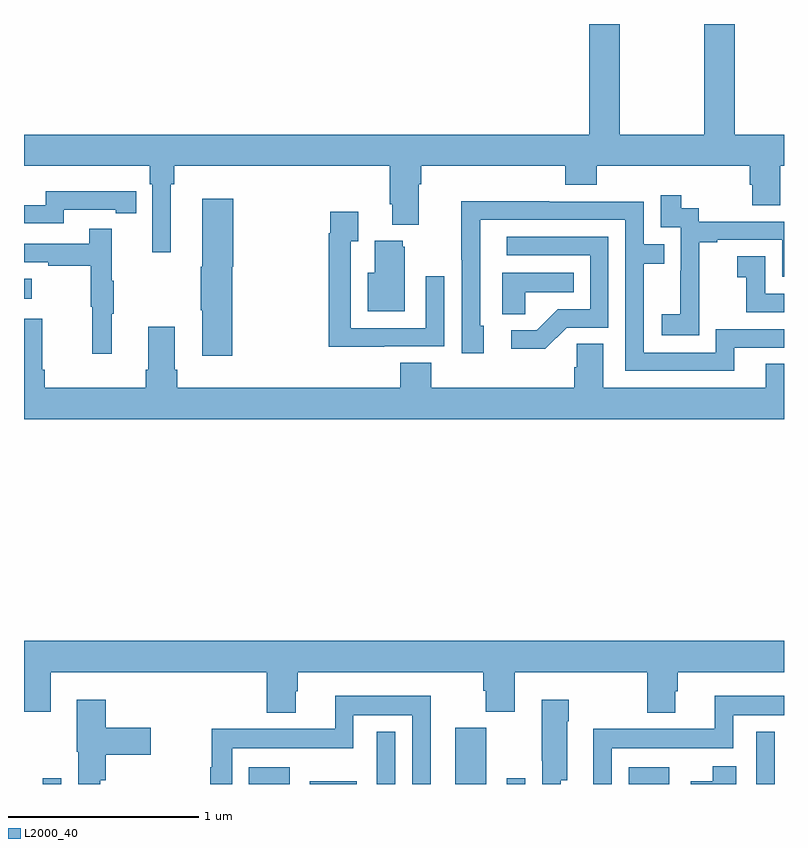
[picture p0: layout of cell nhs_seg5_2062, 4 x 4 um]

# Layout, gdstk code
import gdstk
lib = gdstk.Library(unit=1e-6, precision=1e-09)
def R(c, l, rs):  # rectangles x0, y0, x1, y1
    for r in rs: c.add(gdstk.rectangle(r[:2], r[2:], *l))
def P(c, l, *ps):  # polygons
    for p in ps: c.add(gdstk.Polygon(p, *l))
L2000_40 = (2000, 40)

nhs_seg5_2062 = lib.new_cell('nhs_seg5_2062')
R(nhs_seg5_2062, L2000_40, [(231.099,894.799,231.195,894.829), (232.184,894.799,232.399,894.886), (232.503,894.799,232.75,894.814), (232.857,894.799,232.953,895.075), (233.27,894.799,233.434,895.095), (233.541,894.799,233.637,894.829), (234.182,894.799,234.397,894.886), (234.855,894.799,234.951,895.075), (231,897.353,231.04,897.457)])
P(nhs_seg5_2062, L2000_40, [(234.821,897.954),(234.833,897.954),(234.833,897.844),(234.981,897.844),(234.981,898.052),(235,898.052),(235,898.216),(234.74,898.216),(234.74,898.799),(234.58,898.799),(234.58,898.216),(234.135,898.216),(234.135,898.799),(233.975,898.799),(233.975,898.216),(231,898.216),(231,898.052),(231.662,898.052),(231.662,897.956),(231.675,897.956),(231.675,897.597),(231.772,897.597),(231.772,897.956),(231.791,897.956),(231.791,898.052),(232.925,898.052),(232.925,897.85),(232.937,897.85),(232.937,897.743),(233.077,897.743),(233.077,897.956),(233.09,897.956),(233.09,898.052),(233.849,898.052),(233.849,897.953),(234.014,897.953),(234.014,898.052),(234.821,898.052)],
  [(231.21,897.822),(231.482,897.822),(231.482,897.802),(231.59,897.802),(231.59,897.918),(231.482,897.918),(231.482,897.919),(231.114,897.919),(231.114,897.846),(231,897.846),(231,897.75),(231.21,897.75)],
  [(234.555,897.367),(234.554,897.367),(234.554,897.651),(234.649,897.651),(234.649,897.663),(234.99,897.663),(234.99,897.468),(235,897.468),(235,897.759),(234.552,897.759),(234.552,897.828),(234.46,897.828),(234.46,897.898),(234.351,897.898),(234.351,897.729),(234.456,897.729),(234.456,897.5),(234.455,897.5),(234.455,897.271),(234.357,897.271),(234.357,897.161),(234.555,897.161)],
  [(232.097,897.522),(232.102,897.522),(232.102,897.88),(231.938,897.88),(231.938,897.522),(231.931,897.522),(231.931,897.292),(231.938,897.292),(231.938,897.054),(232.097,897.054)],
  [(234.739,897.096),(235,897.096),(235,897.192),(234.642,897.192),(234.642,897.069),(234.261,897.069),(234.261,897.538),(234.371,897.538),(234.371,897.639),(234.261,897.639),(234.261,897.864),(233.765,897.864),(233.765,897.866),(233.302,897.866),(233.302,897.559),(233.304,897.559),(233.304,897.066),(233.419,897.066),(233.419,897.21),(233.4,897.21),(233.4,897.768),(234.165,897.768),(234.165,896.973),(234.739,896.973)],
  [(232.895,897.102),(233.211,897.102),(233.211,897.472),(233.115,897.472),(233.115,897.198),(232.719,897.198),(232.719,897.655),(232.759,897.655),(232.759,897.811),(232.611,897.811),(232.611,897.698),(232.603,897.698),(232.603,897.101),(232.895,897.101)],
  [(231.461,897.275),(231.472,897.275),(231.472,897.449),(231.461,897.449),(231.461,897.721),(231.343,897.721),(231.343,897.642),(231,897.642),(231,897.546),(231.127,897.546),(231.127,897.526),(231.351,897.526),(231.351,897.312),(231.358,897.312),(231.358,897.063),(231.461,897.063)],
  [(233.856,897.201),(234.075,897.201),(234.075,897.678),(233.541,897.678),(233.541,897.582),(233.979,897.582),(233.979,897.297),(233.81,897.297),(233.699,897.186),(233.565,897.186),(233.565,897.089),(233.743,897.089)],
  [(233.005,897.627),(232.994,897.627),(232.994,897.658),(232.847,897.658),(232.847,897.49),(232.808,897.49),(232.808,897.287),(233.005,897.287)],
  [(235,897.378),(234.9,897.378),(234.9,897.577),(234.753,897.577),(234.753,897.467),(234.802,897.467),(234.802,897.282),(235,897.282)],
  [(233.637,897.386),(233.894,897.386),(233.894,897.49),(233.516,897.49),(233.516,897.271),(233.637,897.271)],
  [(235,897.011),(234.905,897.011),(234.905,896.884),(234.049,896.884),(234.049,897.116),(233.91,897.116),(233.91,896.993),(233.897,896.993),(233.897,896.884),(233.144,896.884),(233.144,897.017),(232.979,897.017),(232.979,896.884),(231.806,896.884),(231.806,896.98),(231.793,896.98),(231.793,897.205),(231.653,897.205),(231.653,896.98),(231.641,896.98),(231.641,896.884),(231.11,896.884),(231.11,896.98),(231.097,896.98),(231.097,897.247),(231,897.247),(231,896.72),(235,896.72)],
  [(232.429,895.287),(232.442,895.287),(232.442,895.388),(233.417,895.388),(233.417,895.289),(233.429,895.289),(233.429,895.18),(233.582,895.18),(233.582,895.388),(234.28,895.388),(234.28,895.175),(234.427,895.175),(234.427,895.287),(234.44,895.287),(234.44,895.388),(235,895.388),(235,895.552),(231,895.552),(231,895.18),(231.14,895.18),(231.14,895.388),(232.277,895.388),(232.277,895.175),(232.429,895.175)],
  [(232.095,894.986),(232.734,894.986),(232.734,895.16),(233.043,895.16),(233.043,894.799),(233.14,894.799),(233.14,895.264),(232.637,895.264),(232.637,895.09),(231.987,895.09),(231.987,894.886),(231.979,894.886),(231.979,894.799),(232.095,894.799)],
  [(234.093,894.986),(234.732,894.986),(234.732,895.16),(235,895.16),(235,895.264),(234.635,895.264),(234.635,895.09),(233.996,895.09),(233.996,894.799),(234.093,894.799)],
  [(231.401,894.818),(231.431,894.818),(231.431,894.953),(231.667,894.953),(231.667,895.095),(231.431,895.095),(231.431,895.243),(231.278,895.243),(231.278,894.969),(231.285,894.969),(231.285,894.799),(231.401,894.799)],
  [(233.824,894.818),(233.86,894.818),(233.86,895.13),(233.868,895.13),(233.868,895.243),(233.726,895.243),(233.726,894.922),(233.727,894.922),(233.727,894.799),(233.824,894.799)],
  [(234.748,894.892),(234.626,894.892),(234.626,894.814),(234.509,894.814),(234.509,894.799),(234.748,894.799)])

lib.write_gds('nhs_seg5_2062.gds')
